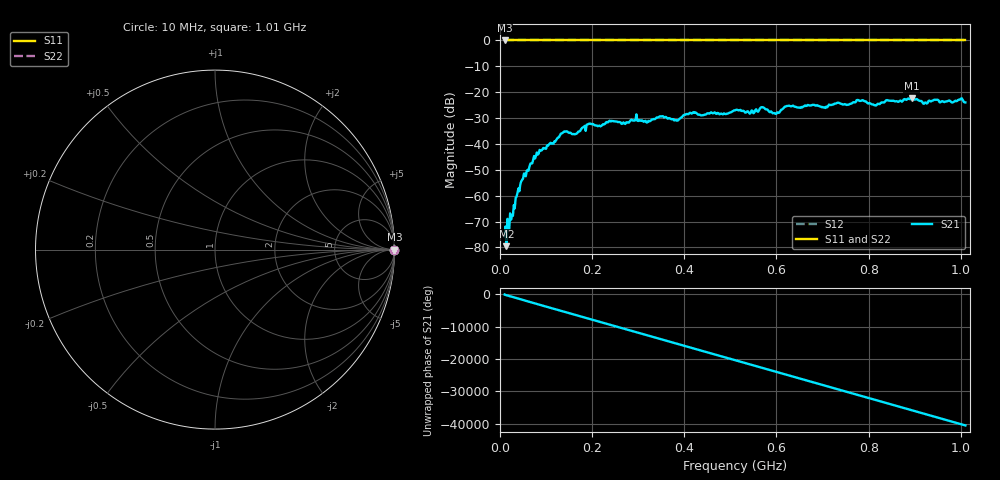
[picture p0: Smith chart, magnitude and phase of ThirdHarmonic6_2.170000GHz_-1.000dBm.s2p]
! 8/17/2025 1:53:44 AM
! C:\ANRITSUVNA\TEMP\TEMP.S2P
! CHANNEL.1
! TR.MEASUREMENT
! RAW.DATA
! RF.CORRECTION.OFF
! AVERAGING.OFF
! IF.BANDWIDTH: 5KHZ
! SWEEPTYPE:  FREQ.SWEEP(Linear)
! Reference Plane Port Info
! PORT:  PORT1  PORT2
! DISTANCE:  0  m  0  m
! TIME:  0  s  0  s
! PHASE.OFFSET:  0  deg.  0  deg.
! LOSS:  0  dB  0  dB
! REF.LOSS:  0  dB  0  dB
! REF.FREQ:  0  Hz  0  Hz
! Power Info
! POWER:  -20  dBm  -20  dBm
! EFF.POWER:  -20  dBm  -20  dBm
! SOURCE.ATTEN:  0  dB  0  dB
! TEST.ATTEN:  0  dB  0  dB
# GHZ S RI R 50.0
! FREQ.GHZ  S11RE  S11IM  S21RE  S21IM  S12RE  S12IM  S22RE  S22IM
!; PortSelection: Port_12
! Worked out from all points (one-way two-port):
!   501 points, 10 MHz to 1.01 GHz, reference 50 ohm
!   highest |S21| = -22.31 dB at 894 MHz (marker M1); lowest = -79.5 dB at 14 MHz (marker M2)
!   lowest |S11| = 0.0 dB at 10 MHz (marker M3)
!   |S11| at or under -10 dB: nowhere
!   |S22| runs from 0.0 to 0.0 dB; largest |S21 - S12| = 1.1
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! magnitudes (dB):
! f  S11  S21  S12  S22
! 10 MHz  0.0  -75.7  0.0  0.0
! 14 MHz  0.0  -79.5  0.0  0.0
! 48 MHz  0.0  -53.9  0.0  0.0
! 76 MHz  0.0  -45.6  0.0  0.0
! 136 MHz  0.0  -35.7  0.0  0.0
! 162 MHz  0.0  -36.3  0.0  0.0
! 178 MHz  0.0  -33.9  0.0  0.0
! 344 MHz  0.0  -29.7  0.0  0.0
! 382 MHz  0.0  -30.7  0.0  0.0
! 416 MHz  0.0  -28.3  0.0  0.0
! 510 MHz  0.0  -27.0  0.0  0.0
! 546 MHz  0.0  -27.0  0.0  0.0
! 570 MHz  0.0  -25.8  0.0  0.0
! 596 MHz  0.0  -28.1  0.0  0.0
! 622 MHz  0.0  -25.3  0.0  0.0
! 678 MHz  0.0  -24.9  0.0  0.0
! 778 MHz  0.0  -23.1  0.0  0.0
! 814 MHz  0.0  -25.0  0.0  0.0
! 844 MHz  0.0  -23.3  0.0  0.0
! 894 MHz  0.0  -22.3  0.0  0.0
! 922 MHz  0.0  -24.1  0.0  0.0
! 1.01 GHz  0.0  -23.9  0.0  0.0
